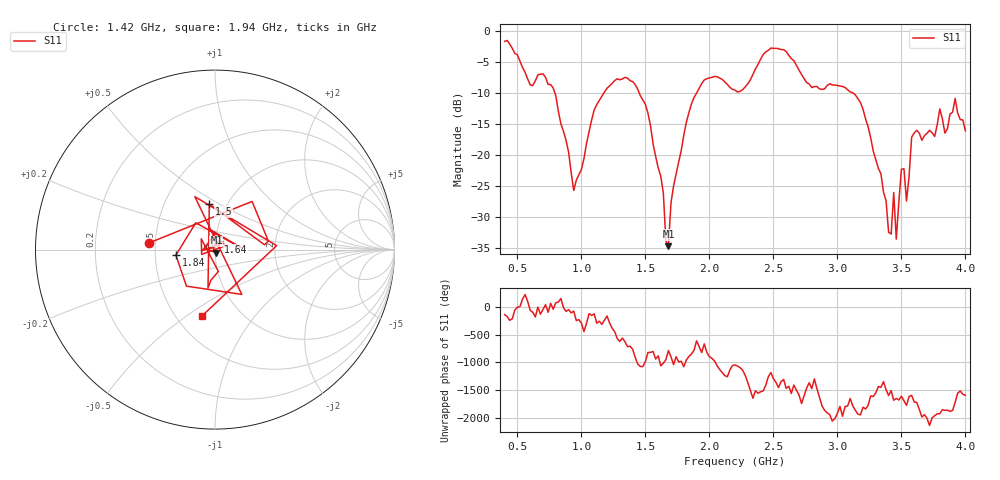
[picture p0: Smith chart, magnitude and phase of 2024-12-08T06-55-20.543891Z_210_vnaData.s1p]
!Created with skrf (http://scikit-rf.org).
# Hz S RI R 50.0
!freq ReS11 ImS11
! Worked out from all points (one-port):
!   181 points, 400 MHz to 4 GHz, reference 50 ohm
!   lowest |S11| = -34.7 dB at 1.68 GHz (marker M1), VSWR 1.04, Z = 50.8 - j1.69 ohm
!   |S11| at or under -10 dB: 792.6 MHz to 1.176 GHz (383 MHz wide, 38.9 % of centre); 1.452 GHz to 1.901 GHz (448.9 MHz wide, 26.8 % of centre); 3.122 GHz to end of sweep
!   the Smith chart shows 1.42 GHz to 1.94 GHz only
!   S11 on the Smith chart (normalised r, x): 1.42 GHz: 0.46, +0.04; 1.5 GHz: 0.83, +0.45; 1.64 GHz: 1.04, +0.09; 1.84 GHz: 0.64, -0.04; 1.94 GHz: 0.67, -0.57
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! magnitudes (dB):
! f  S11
! 400 MHz  -1.7
! 780 MHz  -9.2
! 860 MHz  -16.2
! 940 MHz  -25.7
! 1.1 GHz  -12.7
! 1.3 GHz  -7.9
! 1.42 GHz  -8.7
! 1.5 GHz  -11.8
! 1.64 GHz  -26.1
! 1.68 GHz  -34.7
! 1.76 GHz  -21.1
! 1.84 GHz  -13.2
! 1.94 GHz  -8.5
! 2.2 GHz  -9.6
! 2.48 GHz  -2.8
! 2.66 GHz  -4.8
! 3.1 GHz  -9.8
! 3.24 GHz  -15.5
! 3.4 GHz  -32.4
! 3.44 GHz  -26.0
! 3.46 GHz  -33.5
! 3.5 GHz  -22.3
! 3.54 GHz  -27.4
! 3.56 GHz  -23.4
! 3.58 GHz  -17.1
! 3.8 GHz  -12.6
! 3.92 GHz  -10.9
! 4 GHz  -16.1
